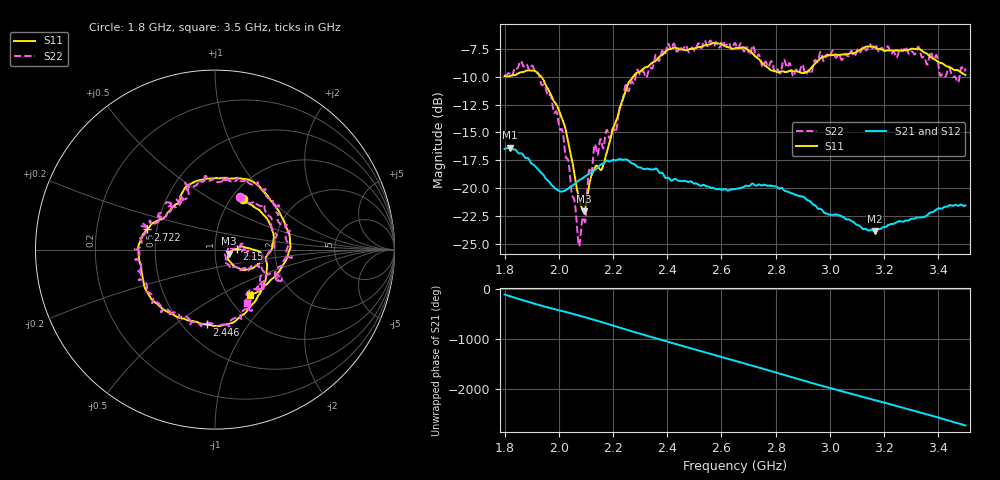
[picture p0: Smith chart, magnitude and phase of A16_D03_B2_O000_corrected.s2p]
! Created with skrf 1.9.0 (http://scikit-rf.org).
# Hz S RI R 50.0
!freq ReS11 ImS11 ReS21 ImS21 ReS12 ImS12 ReS22 ImS22
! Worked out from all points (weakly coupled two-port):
!   1601 points, 1.8 GHz to 3.5 GHz, reference 50 ohm
!   highest |S21| = -16.38 dB at 1.819 GHz (marker M1); lowest = -23.9 dB at 3.165 GHz (marker M2)
!   lowest |S11| = -22.1 dB at 2.093 GHz (marker M3), VSWR 1.17, Z = 58.1 - j2.61 ohm
!   |S11| at or under -10 dB: 1.936 GHz to 2.275 GHz (339 MHz wide, 16.1 % of centre)
!   |S22| runs from -25.2 to -6.7 dB; largest |S21 - S12| = 0.0026
!   S11 on the Smith chart (normalised r, x): 1.8 GHz: 1.13, +0.71; 2.15 GHz: 1.28, +0.01; 2.446 GHz: 0.65, -0.66; 2.722 GHz: 0.44, +0.12; 3.5 GHz: 1.26, -0.72
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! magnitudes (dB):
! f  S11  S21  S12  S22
! 1.8 GHz  -9.9  -16.5  -16.5  -9.8
! 1.819 GHz  -9.9  -16.4  -16.4  -9.8
! 1.903 GHz  -9.5  -17.9  -17.8  -9.0
! 1.968 GHz  -11.5  -19.5  -19.6  -11.6
! 2.015 GHz  -13.9  -20.3  -20.3  -15.0
! 2.072 GHz  -20.7  -19.3  -19.4  -24.9
! 2.084 GHz  -21.7  -19.2  -19.1  -23.3
! 2.093 GHz  -22.1  -19.0  -19.1  -22.8
! 2.113 GHz  -19.5  -18.7  -18.7  -18.3
! 2.15 GHz  -18.2  -18.0  -18.0  -16.0
! 2.209 GHz  -14.1  -17.5  -17.5  -15.0
! 2.259 GHz  -10.5  -17.6  -17.6  -11.2
! 2.367 GHz  -8.3  -18.5  -18.4  -8.5
! 2.446 GHz  -7.5  -19.4  -19.4  -7.3
! 2.65 GHz  -7.4  -20.1  -20.1  -7.0
! 2.722 GHz  -8.1  -19.7  -19.6  -7.7
! 2.803 GHz  -9.5  -19.9  -19.9  -9.5
! 2.934 GHz  -9.1  -21.4  -21.4  -9.6
! 3.165 GHz  -7.3  -23.9  -23.8  -7.2
! 3.217 GHz  -7.6  -23.3  -23.3  -7.4
! 3.468 GHz  -9.4  -21.5  -21.5  -10.3
! 3.5 GHz  -9.8  -21.6  -21.5  -9.2
